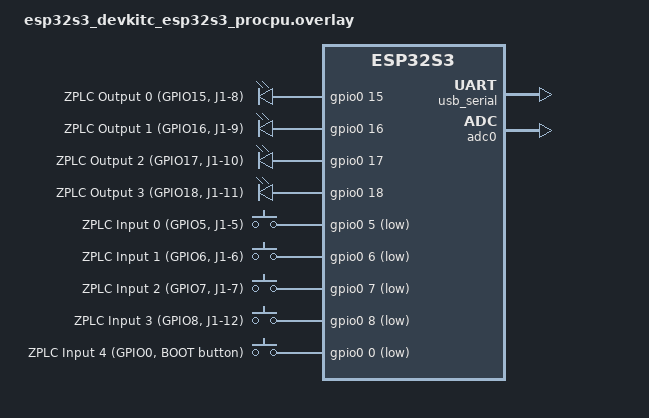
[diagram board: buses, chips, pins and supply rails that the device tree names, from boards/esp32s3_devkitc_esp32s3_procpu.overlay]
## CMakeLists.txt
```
# =============================================================================
# ZPLC Zephyr Verification Application
# =============================================================================
# SPDX-License-Identifier: MIT
#
# Minimal Zephyr application to test the ZPLC module build.
# =============================================================================

cmake_minimum_required(VERSION 3.20.0)

# Tell Zephyr where the ZPLC module lives so its Kconfig and CMakeLists.txt
# are always found, regardless of whether the workspace symlink exists.
# ZEPHYR_EXTRA_MODULES must be set BEFORE find_package(Zephyr).
get_filename_component(_ZPLC_FIRMWARE_DIR "${CMAKE_CURRENT_SOURCE_DIR}/.." ABSOLUTE)
list(APPEND ZEPHYR_EXTRA_MODULES "${_ZPLC_FIRMWARE_DIR}")

# Find Zephyr - this sets up the entire Zephyr build system
find_package(Zephyr REQUIRED HINTS $ENV{ZEPHYR_BASE})

project(zplc_zephyr_app)

# The application is optimized across its files with the runtime (CONFIG_ZPLC_LTO; the module does the library).
zplc_target_lto(app)

# COM-022: the raw memory command of the Zephyr shell is built only into the
# diagnostic image (firmware/app/diagnostic.conf).
include(${CMAKE_CURRENT_SOURCE_DIR}/cmake/zplc_shell_rules.cmake)
zplc_check_shell_rules("${CONFIG_DEVMEM_SHELL}" "${CONFIG_ZPLC_SHELL_RAW_MEMORY}")

# COM-016: TLS never runs on a random generator that is not cryptographic.
include(${CMAKE_CURRENT_SOURCE_DIR}/cmake/zplc_tls_rng_rule.cmake)
if(CONFIG_MQTT_LIB_TLS OR CONFIG_NET_SOCKETS_SOCKOPT_TLS)
  set(_zplc_tls ON)
else()
  set(_zplc_tls OFF)
endif()
zplc_check_tls_random("${_zplc_tls}" "${CONFIG_TEST_RANDOM_GENERATOR}" "${CONFIG_CSPRNG_ENABLED}")

# RT-028, RT-029: the sizes a board profile advertises to the IDE (boards.json) are the sizes the
# build was configured with. The largest artifact the program store accepts is CONFIG_ZPLC_CODE_SIZE_MAX, and a
# manifest that says another number would make the IDE offer a program the board refuses, or refuse one it holds.
file(READ "${CMAKE_CURRENT_SOURCE_DIR}/boards/boards.json" ZPLC_BOARD_MANIFEST)
string(JSON ZPLC_BOARD_COUNT LENGTH "${ZPLC_BOARD_MANIFEST}")
if(ZPLC_BOARD_COUNT GREATER 0)
  math(EXPR ZPLC_BOARD_LAST "${ZPLC_BOARD_COUNT} - 1")
  foreach(ZPLC_BOARD_INDEX RANGE ${ZPLC_BOARD_LAST})
    string(JSON ZPLC_BOARD_ENTRY GET "${ZPLC_BOARD_MANIFEST}" ${ZPLC_BOARD_INDEX})
    string(JSON ZPLC_BOARD_TARGET GET "${ZPLC_BOARD_ENTRY}" zephyr_board)
    # The board target is "${BOARD}/${BOARD_QUALIFIERS}": Zephyr 4.4 sets BOARD_QUALIFIERS without the leading slash.
    if(ZPLC_BOARD_TARGET STREQUAL "${BOARD}/${BOARD_QUALIFIERS}")
      string(JSON ZPLC_BOARD_ID GET "${ZPLC_BOARD_ENTRY}" board_id)
      string(JSON ZPLC_BOARD_MEMORY GET "${ZPLC_BOARD_ENTRY}" memory)
      string(JSON ZPLC_BOARD_CODE GET "${ZPLC_BOARD_MEMORY}" code_size_max)
      string(JSON ZPLC_BOARD_WORK GET "${ZPLC_BOARD_MEMORY}" work_size)
      string(JSON ZPLC_BOARD_RETAIN GET "${ZPLC_BOARD_MEMORY}" retain_size)
      foreach(ZPLC_PAIR
              "code_size_max;${ZPLC_BOARD_CODE};${CONFIG_ZPLC_CODE_SIZE_MAX};CONFIG_ZPLC_CODE_SIZE_MAX"
              "work_size;${ZPLC_BOARD_WORK};${CONFIG_ZPLC_WORK_MEMORY_SIZE};CONFIG_ZPLC_WORK_MEMORY_SIZE"
              "retain_size;${ZPLC_BOARD_RETAIN};${CONFIG_ZPLC_RETAIN_MEMORY_SIZE};CONFIG_ZPLC_RETAIN_MEMORY_SIZE")
        list(GET ZPLC_PAIR 0 ZPLC_KEY)
        list(GET ZPLC_PAIR 1 ZPLC_ADVERTISED)
        list(GET ZPLC_PAIR 2 ZPLC_CONFIGURED)
        list(GET ZPLC_PAIR 3 ZPLC_SYMBOL)
        if(NOT ZPLC_ADVERTISED EQUAL ZPLC_CONFIGURED)
          message(FATAL_ERROR
            "boards/boards.json advertises ${ZPLC_KEY}=${ZPLC_ADVERTISED} for ${ZPLC_BOARD_ID} "
            "but the build is configured with ${ZPLC_SYMBOL}=${ZPLC_CONFIGURED}: the IDE would offer a program "
            "size the board does not accept. Make the two agree.")
        endif()
      endforeach()

      # RT-020: the hardware watchdog of a profile is what its manifest entry says. It is on in a profile that has a
      # hardware record and off in every other (the manifest validator checks that rule); the build is configured
      # the same way, with the same timeouts and the same policy for STOP, a pause and a latched fault. The one
      # exception is the HIL image (CONFIG_ZPLC_HIL_IMAGE), which the record itself is made on: the watchdog on, with
      # the entry's timeouts and policies, in an image that says it is never shipped.
      string(JSON ZPLC_WDT GET "${ZPLC_BOARD_ENTRY}" watchdog)
      string(JSON ZPLC_WDT_ENABLED GET "${ZPLC_WDT}" enabled)
      string(JSON ZPLC_WDT_TIMEOUT GET "${ZPLC_WDT}" timeout_ms)
      string(JSON ZPLC_WDT_MAX GET "${ZPLC_WDT}" max_timeout_ms)
      string(JSON ZPLC_WDT_STOP GET "${ZPLC_WDT}" stop)
      string(JSON ZPLC_WDT_PAUSE GET "${ZPLC_WDT}" pause)
      string(JSON ZPLC_WDT_FAULT GET "${ZPLC_WDT}" fault)
      if(ZPLC_WDT_ENABLED OR CONFIG_ZPLC_HIL_IMAGE)
        if(NOT CONFIG_ZPLC_HARDWARE_WATCHDOG)
          message(FATAL_ERROR
            "boards/boards.json enables the hardware watchdog of ${ZPLC_BOARD_ID} (it has a hardware record) "
            "but the build has CONFIG_ZPLC_HARDWARE_WATCHDOG off: set it in the board configuration (RT-020).")
        endif()
        foreach(ZPLC_PAIR
                "timeout_ms;${ZPLC_WDT_TIMEOUT};${CONFIG_ZPLC_HARDWARE_WATCHDOG_TIMEOUT_MS};CONFIG_ZPLC_HARDWARE_WATCHDOG_TIMEOUT_MS"
                "max_timeout_ms;${ZPLC_WDT_MAX};${CONFIG_ZPLC_HARDWARE_WATCHDOG_TIMEOUT_MAX_MS};CONFIG_ZPLC_HARDWARE_WATCHDOG_TIMEOUT_MAX_MS")
          list(GET ZPLC_PAIR 0 ZPLC_KEY)
          list(GET ZPLC_PAIR 1 ZPLC_ADVERTISED)
          list(GET ZPLC_PAIR 2 ZPLC_CONFIGURED)
          list(GET ZPLC_PAIR 3 ZPLC_SYMBOL)
          if(NOT ZPLC_ADVERTISED EQUAL ZPLC_CONFIGURED)
            message(FATAL_ERROR
              "boards/boards.json says watchdog.${ZPLC_KEY}=${ZPLC_ADVERTISED} for ${ZPLC_BOARD_ID} "
              "but the build is configured with ${ZPLC_SYMBOL}=${ZPLC_CONFIGURED}. Make the two agree.")
          endif()
        endforeach()
        if((ZPLC_WDT_STOP STREQUAL "feed") AND NOT CONFIG_ZPLC_WATCHDOG_STOP_FEED)
          message(FATAL_ERROR "boards/boards.json: ${ZPLC_BOARD_ID} feeds its watchdog in STOP; set CONFIG_ZPLC_WATCHDOG_STOP_FEED=y.")
        endif()
        if((ZPLC_WDT_STOP STREQUAL "disarm") AND CONFIG_ZPLC_WATCHDOG_STOP_FEED)
          message(FATAL_ERROR "boards/boards.json: ${ZPLC_BOARD_ID} disarms its watchdog in STOP; unset CONFIG_ZPLC_WATCHDOG_STOP_FEED.")
        endif()
        if((ZPLC_WDT_PAUSE STREQUAL "disarm") AND NOT CONFIG_ZPLC_WATCHDOG_PAUSE_DISARM)
          message(FATAL_ERROR "boards/boards.json: ${ZPLC_BOARD_ID} disarms its watchdog in a pause; set CONFIG_ZPLC_WATCHDOG_PAUSE_DISARM=y.")
        endif()
        if((ZPLC_WDT_PAUSE STREQUAL "feed") AND CONFIG_ZPLC_WATCHDOG_PAUSE_DISARM)
          message(FATAL_ERROR "boards/boards.json: ${ZPLC_BOARD_ID} feeds its watchdog in a pause; unset CONFIG_ZPLC_WATCHDOG_PAUSE_DISARM.")
        endif()
        if((ZPLC_WDT_FAULT STREQUAL "disarm") AND NOT CONFIG_ZPLC_WATCHDOG_FAULT_DISARM)
          message(FATAL_ERROR "boards/boards.json: ${ZPLC_BOARD_ID} disarms its watchdog in a fault; set CONFIG_ZPLC_WATCHDOG_FAULT_DISARM=y.")
        endif()
        if((ZPLC_WDT_FAULT STREQUAL "expire") AND CONFIG_ZPLC_WATCHDOG_FAULT_DISARM)
          message(FATAL_ERROR "boards/boards.json: ${ZPLC_BOARD_ID} lets its watchdog expire in a fault; unset CONFIG_ZPLC_WATCHDOG_FAULT_DISARM.")
        endif()
      elseif(CONFIG_ZPLC_HARDWARE_WATCHDOG)
        message(FATAL_ERROR
          "boards/boards.json keeps the hardware watchdog of ${ZPLC_BOARD_ID} off (no hardware record: RT-020, "
          "HIL-010) but the build enables CONFIG_ZPLC_HARDWARE_WATCHDOG. A watchdog enabled before its reset "
          "timing and safe outputs are recorded could reset a board in the field. For the record run itself, build "
          "the HIL image: -DCONFIG_ZPLC_HIL_IMAGE=y.")
      endif()
      message(STATUS "ZPLC: ${ZPLC_BOARD_ID} checked against boards/boards.json (RT-028 sizes: code ${ZPLC_BOARD_CODE}, "
                     "work ${ZPLC_BOARD_WORK}, retain ${ZPLC_BOARD_RETAIN}; RT-020 hardware watchdog: ${ZPLC_WDT_ENABLED})")
      if(CONFIG_ZPLC_HIL_IMAGE)
        message(WARNING "ZPLC: ${ZPLC_BOARD_ID} HIL image: the hardware watchdog is on for a hardware record run "
                        "(RT-020, HIL-010). This image is never shipped.")
      endif()
    endif()
  endforeach()
endif()

if(CONFIG_MQTT_LIB_WEBSOCKET)
  if(NOT TARGET subsys__net__lib__mqtt)
    message(FATAL_ERROR "Zephyr MQTT target subsys__net__lib__mqtt is required for the WebSocket net_log workaround")
  endif()
  target_compile_options(subsys__net__lib__mqtt PRIVATE "SHELL:-include zephyr/net/net_log.h")
endif()

target_sources(app PRIVATE
    src/main.c
    src/program_boot_restore.c
    src/program_admission.c
    src/program_store.c
    src/runtime_boot.c
    src/zplc_config.c
    src/zplc_time.c
)

if(CONFIG_MODBUS)
  target_sources(app PRIVATE
      src/zplc_modbus.c
      src/zplc_modbus_tcp.c
      src/zplc_modbus_client.c
      src/zplc_comm_modbus_handler.c
  )
endif()

if(CONFIG_MQTT_LIB)
  target_sources(app PRIVATE
      src/zplc_comm_mqtt_handler.c
      src/zplc_comm_cloud_handler.c
      src/zplc_mqtt.c
      src/zplc_mqtt_command.c
      src/zplc_tls_credentials.c
      src/zplc_azure_sas.c
      src/zplc_azure_dps.c
      src/zplc_aws_fleet.c
  )
endif()

if(CONFIG_SHELL)
  target_sources(app PRIVATE src/shell_cmds.c)
endif()

target_include_directories(app PRIVATE
    include
)

target_compile_options(app PRIVATE -Werror)

# Sparkplug protobuf sources must always be generated from canonical proto inputs.
if(CONFIG_NANOPB)
  list(APPEND CMAKE_MODULE_PATH ${ZEPHYR_BASE}/modules/nanopb)
  include(nanopb)
  zephyr_nanopb_sources(app proto/sparkplug_b.proto)
endif()
```

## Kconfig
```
# =============================================================================
# ZPLC Application Kconfig
# =============================================================================
# Include the main Zephyr Kconfig
source "Kconfig.zephyr"

menu "ZPLC Application"

# Application-specific options go here
# (ZPLC_HIL_DEBUG is now defined in the module Kconfig)

endmenu
```

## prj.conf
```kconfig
# =============================================================================
# ZPLC Zephyr Application Configuration
# =============================================================================
# SPDX-License-Identifier: MIT
# =============================================================================

# Enable the ZPLC module
CONFIG_ZPLC=y

# -----------------------------------------------------------------------------
# GPIO Configuration (Required for Phase 3 Hardware I/O)
# -----------------------------------------------------------------------------
CONFIG_GPIO=y

# -----------------------------------------------------------------------------
# ADC Configuration (Analog Input Support)
# -----------------------------------------------------------------------------
CONFIG_ADC=y

# -----------------------------------------------------------------------------
# Modbus RTU Server Support
# -----------------------------------------------------------------------------
CONFIG_MODBUS=y

# -----------------------------------------------------------------------------
# Logging Configuration
# -----------------------------------------------------------------------------
CONFIG_PRINTK=y
CONFIG_LOG=y
CONFIG_ZPLC_LOG_LEVEL=3

# -----------------------------------------------------------------------------
# Stack/Memory Configuration
# -----------------------------------------------------------------------------
CONFIG_MAIN_STACK_SIZE=4096

# Increase heap for boards with limited defaults
CONFIG_HEAP_MEM_POOL_SIZE=2048

# -----------------------------------------------------------------------------
# Flash & Persistence Configuration (NVS)
# -----------------------------------------------------------------------------
# Required for storing programs in Flash (non-volatile storage)
# We use NVS directly for simpler and more reliable persistence
CONFIG_FLASH=y
CONFIG_FLASH_PAGE_LAYOUT=y
CONFIG_FLASH_MAP=y
CONFIG_NVS=y

# -----------------------------------------------------------------------------
# Shell for Runtime Management (Required for Phase 3 Serial Upload)
# -----------------------------------------------------------------------------
CONFIG_SHELL=y
CONFIG_SHELL_BACKEND_SERIAL=y

# Shell configuration
CONFIG_SHELL_PROMPT_UART="zplc:~$ "

# The command line buffer: the longest line a client sends. That is a frame of the device link, `zplc link ` and
# the frame in hexadecimal, 2 * (CONFIG_ZPLC_PROTO_PAYLOAD_MAX + 47) + 11 characters: 1129 at the default payload of
# 512. The text commands are shorter (the longest, `zplc config set mqtt_password <511 characters>`, is 541), and
# the upload commands send 16 bytes (32 hex characters) a line. The shell drops what does not fit the buffer, and the
# build stops when a frame would not fit (shell_cmds.c). The shell keeps two buffers of this size (the line and the
# one it completes in), so every 256 bytes here cost 512 bytes of RAM. A board with a smaller payload sets less.
# Bursts are the receive ring below, not this buffer.
CONFIG_SHELL_CMD_BUFF_SIZE=1280
CONFIG_SHELL_PRINTF_BUFF_SIZE=2048

# Enable shell RX ring buffer with generous size
CONFIG_SHELL_BACKEND_SERIAL_RX_RING_BUFFER_SIZE=4096

# Use interrupt-driven mode for better responsiveness
CONFIG_SHELL_BACKEND_SERIAL_INTERRUPT_DRIVEN=y

# Increase stack for shell thread (needed for hex parsing)
CONFIG_SHELL_STACK_SIZE=4096

# -----------------------------------------------------------------------------
# USB CDC ACM Configuration (for boards with native USB like Pico)
# -----------------------------------------------------------------------------
# Enabled conditionally in board-specific configs (rpi_pico.conf)

# -----------------------------------------------------------------------------
# Multitask Scheduler Configuration
# -----------------------------------------------------------------------------
CONFIG_ZPLC_SCHEDULER=y
CONFIG_ZPLC_MAX_TASKS=4
CONFIG_ZPLC_SCHED_WORKQ_STACK_SIZE=2048
CONFIG_ZPLC_SCHED_WORKQ_PRIORITY=5
CONFIG_ZPLC_SCHED_HIGH_PRIO_WORKQ=y
CONFIG_ZPLC_SCHED_HIGH_PRIO_STACK_SIZE=2048
CONFIG_ZPLC_SCHED_HIGH_PRIO_PRIORITY=2

# The scan coordinator outranks every communication, logging and shell thread (RT-013). Zephyr runs its system work
# queue, which the Modbus serial server and the network management callbacks use, at a cooperative priority, and
# a cooperative thread outranks every preemptible one: it moves to the priority of the communication threads
# (CONFIG_ZPLC_COMM_THREAD_PRIORITY, 8). The network traffic threads are made preemptible in the board files.
CONFIG_SYSTEM_WORKQUEUE_PRIORITY=8

# -----------------------------------------------------------------------------
# System Reboot Support
# -----------------------------------------------------------------------------
CONFIG_REBOOT=y

# -----------------------------------------------------------------------------
# Release firmware has no raw memory command (COM-022)
# -----------------------------------------------------------------------------
# `devmem` of the Zephyr shell reads and writes any address of the device. It
# is on by default in Zephyr; the diagnostic image turns it on again with
# CONFIG_ZPLC_SHELL_RAW_MEMORY=y (diagnostic.conf), and the build stops when
# the two disagree.
CONFIG_DEVMEM_SHELL=n

# -----------------------------------------------------------------------------
```

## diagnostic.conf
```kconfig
# =============================================================================
# ZPLC diagnostic image (COM-022)
# =============================================================================
# SPDX-License-Identifier: MIT
#
# Adds the commands that read and write any address of the device. Never a
# release image: build it with
#
#   west build -b <board> firmware/app -- -DEXTRA_CONF_FILE=diagnostic.conf
#
# The two lines go together; the application build stops with an error when
# only one is set (firmware/app/cmake/zplc_shell_rules.cmake).
CONFIG_ZPLC_SHELL_RAW_MEMORY=y
CONFIG_DEVMEM_SHELL=y
```

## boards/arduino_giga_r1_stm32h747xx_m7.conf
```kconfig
# =============================================================================
# ZPLC Board Configuration - Arduino GIGA R1 (STM32H747 M7)
# =============================================================================
# SPDX-License-Identifier: MIT
#
# Board-specific Kconfig settings for Arduino GIGA R1 (M7 core).
# =============================================================================

# Console over USB CDC ACM
# Disable legacy USB device stack because Zephyr board defaults already pull
# device_next paths, and enabling both causes duplicate CDC ACM symbols.
CONFIG_USB_DEVICE_STACK=n

# Persistence on the external QSPI NOR flash, one partition per store (IO-008,
# arduino_giga_r1_stm32h747xx_m7.overlay): the NVS records of the ZPLC HAL on
# zplc_nvs_partition (7 MB) and LittleFS, the settings file and the certificate
# files, on storage_partition (1 MB).
CONFIG_FLASH=y
CONFIG_FLASH_PAGE_LAYOUT=y
CONFIG_FLASH_MAP=y
CONFIG_FILE_SYSTEM=y
CONFIG_FILE_SYSTEM_LITTLEFS=y
CONFIG_FILE_SYSTEM_MKFS=y
CONFIG_SETTINGS=y
CONFIG_SETTINGS_FILE=y
CONFIG_SETTINGS_FILE_PATH="/lfs/settings"

# LittleFS + TLS certificate buffers
CONFIG_HEAP_MEM_POOL_SIZE=12288

# Memory sizes
CONFIG_MAIN_STACK_SIZE=4096
CONFIG_SYSTEM_WORKQUEUE_STACK_SIZE=3072
# The outputs this board requires are the channels of its I/O description (boards.json).

# Networking / Wi-Fi / MQTT are intentionally disabled for this board build.
# Zephyr 4.3.0 board docs for Arduino GIGA R1 state that only Bluetooth is
# currently supported for the onboard Murata Type 1DX radio. Enabling Wi-Fi
# pulls in unsupported Infineon WHD SDIO paths and breaks cross-build parity.
CONFIG_NETWORKING=n
CONFIG_DNS_RESOLVER=n
CONFIG_WIFI=n
CONFIG_NET_L2_WIFI_SHELL=n
CONFIG_NET_SHELL=n
CONFIG_WIFI_CREDENTIALS=n
CONFIG_WIFI_CREDENTIALS_BACKEND_SETTINGS=n
CONFIG_WIFI_CREDENTIALS_SHELL=n
CONFIG_MQTT_LIB=n
CONFIG_MQTT_LIB_TLS=n
CONFIG_MQTT_LIB_WEBSOCKET=n
CONFIG_MQTT_LIB_TLS_USE_ALPN=n
CONFIG_MQTT_VERSION_5_0=n
CONFIG_NET_SOCKETS_SOCKOPT_TLS=n
CONFIG_WEBSOCKET_CLIENT=n
CONFIG_TLS_CREDENTIALS=n
CONFIG_MBEDTLS=n
CONFIG_NANOPB=n

# -----------------------------------------------------------------------------
# RETAIN persistence (RT-025, RT-026). Engineering estimates, not measurements:
# no board was measured. See docs/docs/runtime/persistence.md for the arithmetic.
# -----------------------------------------------------------------------------
# zplc_nvs_partition: 7 MB of the external QSPI NOR (4 KB sectors assumed), rated
# 100000 erase cycles per sector, used by the NVS records alone. Wear bytes =
# 1791 * 4096 - 8300, rounded down.
# On in every shipped profile: RETAIN survives a power cycle (RT-025). The build checks the wear numbers below (RT-026).
CONFIG_ZPLC_RETAIN_PERSIST=y
CONFIG_ZPLC_RETAIN_FLASH_ENDURANCE_CYCLES=100000
CONFIG_ZPLC_RETAIN_FLASH_WEAR_BYTES=7300000
CONFIG_ZPLC_RETAIN_SAVE_INTERVAL_S=60
```

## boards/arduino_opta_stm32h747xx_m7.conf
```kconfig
# =============================================================================
# ZPLC Board Configuration - Arduino Opta WiFi (STM32H747 M7)
# =============================================================================
# SPDX-License-Identifier: MIT
#
# Board-specific Kconfig settings for Arduino Opta WiFi (M7 core).
# =============================================================================

# Let board defaults manage USB stack to avoid UDC/DC conflicts
CONFIG_CONSOLE=y
CONFIG_UART_CONSOLE=y
CONFIG_UART_LINE_CTRL=y
CONFIG_CDC_ACM_SERIAL_INITIALIZE_AT_BOOT=y

# Persistence on the 16 MB external QSPI NOR flash, one partition per store
# (IO-008, arduino_opta_stm32h747xx_m7.overlay): the NVS records of the ZPLC HAL
# on zplc_nvs_partition (7 MB) and LittleFS, the settings file and the
# certificate files, on storage_partition (1 MB).
CONFIG_FLASH=y
CONFIG_FLASH_PAGE_LAYOUT=y
CONFIG_FLASH_MAP=y
CONFIG_FILE_SYSTEM=y
CONFIG_FILE_SYSTEM_LITTLEFS=y
CONFIG_FILE_SYSTEM_MKFS=y
CONFIG_SETTINGS=y
CONFIG_SETTINGS_FILE=y
CONFIG_SETTINGS_FILE_PATH="/lfs/settings"
CONFIG_HEAP_MEM_POOL_SIZE=16384

# Memory sizes
CONFIG_MAIN_STACK_SIZE=4096
CONFIG_SYSTEM_WORKQUEUE_STACK_SIZE=3072
# The outputs this board requires are the channels of its I/O description (boards.json).

# Analog inputs are available on the board
CONFIG_ADC=y

# Networking Foundation
CONFIG_NETWORKING=y
# The network RX/TX threads are cooperative by default and would outrank the scan (RT-013).
CONFIG_NET_TC_THREAD_PREEMPTIVE=y
CONFIG_NET_L2_ETHERNET=y
CONFIG_NET_L2_WIFI_MGMT=y

# IPv4
CONFIG_NET_IPV4=y
CONFIG_NET_DHCPV4=y

# Sockets and Protocols
CONFIG_NET_SOCKETS=y
CONFIG_NET_TCP=y
CONFIG_NET_UDP=y

# Helper macros
CONFIG_NET_MGMT=y
CONFIG_NET_MGMT_EVENT=y
CONFIG_NET_ICMPV4_ACCEPT_BROADCAST=y
CONFIG_NET_IPV4_AUTO=n

# Random source for the network stack and for TLS (COM-016): the hardware
# random number generator of the STM32 (CONFIG_ENTROPY_STM32_RNG, from the
# board DeviceTree). CONFIG_TEST_RANDOM_GENERATOR is not set: it only permits a
# generator that is not random, and the application build stops when TLS is on
# together with it (firmware/app/cmake/zplc_tls_rng_rule.cmake).
CONFIG_ENTROPY_GENERATOR=y

# Time Synchronization
CONFIG_SNTP=y
CONFIG_POSIX_TIMERS=y
CONFIG_POSIX_API=y

# DNS Resolver
CONFIG_DNS_RESOLVER=y
CONFIG_DNS_SERVER_IP_ADDRESSES=y
CONFIG_DNS_SERVER1="8.8.8.8"
CONFIG_NET_SOCKETS_DNS_TIMEOUT=3000

# Static IP fallback
CONFIG_NET_CONFIG_SETTINGS=y
CONFIG_NET_CONFIG_NEED_IPV4=y
CONFIG_NET_CONFIG_MY_IPV4_ADDR="192.168.1.200"
CONFIG_NET_CONFIG_MY_IPV4_NETMASK="255.255.255.0"
CONFIG_NET_CONFIG_MY_IPV4_GW="192.168.1.1"
CONFIG_NET_CONFIG_INIT_TIMEOUT=5

# Disable Modbus to avoid build errors (RS-485 pins not mapped yet)
CONFIG_MODBUS=n

# MQTT + Sparkplug support, TLS OFF (COM-016).
# The random number generator of this board has not been verified on the
# board, so TLS is not built: MQTT runs over plain TCP only, and a TLS
# transport is refused by the client instead of being downgraded. Switch
# CONFIG_MQTT_LIB_TLS, CONFIG_NET_SOCKETS_SOCKOPT_TLS and CONFIG_TLS_CREDENTIALS
# back on only with a hardware record of the generator (HIL-011). mbedTLS stays
# for the SHA-256 and HMAC of the Azure SAS token.
CONFIG_MQTT_LIB=y
CONFIG_MQTT_LIB_TLS=n
CONFIG_MQTT_LIB_WEBSOCKET=y
CONFIG_MQTT_LIB_TLS_USE_ALPN=n
CONFIG_MQTT_VERSION_5_0=y
CONFIG_MQTT_USER_PROPERTIES_MAX=10
CONFIG_MQTT_CLEAN_SESSION=y
CONFIG_NET_SOCKETS_SOCKOPT_TLS=n
CONFIG_WEBSOCKET_CLIENT=y
CONFIG_NET_SOCKETS_ENABLE_DTLS=n
CONFIG_TLS_CREDENTIALS=n
CONFIG_MBEDTLS=y
CONFIG_PSA_WANT_ALG_SHA_256=y
CONFIG_MBEDTLS_ENABLE_HEAP=y
CONFIG_MBEDTLS_HEAP_SIZE=32768
CONFIG_MBEDTLS_PEM_PARSE_C=y
CONFIG_MBEDTLS_BASE64_C=y
CONFIG_PSA_WANT_ALG_HMAC=y
CONFIG_PSA_WANT_KEY_TYPE_HMAC=y
CONFIG_NANOPB=y

# -----------------------------------------------------------------------------
# RETAIN persistence (RT-025, RT-026). Engineering estimates, not measurements:
# no board was measured. See docs/docs/runtime/persistence.md for the arithmetic.
# -----------------------------------------------------------------------------
# zplc_nvs_partition: 7 MB of the external QSPI NOR (4 KB sectors assumed), rated
# 100000 erase cycles per sector, used by the NVS records alone. Wear bytes =
# 1791 * 4096 - 8300, rounded down.
# On in every shipped profile: RETAIN survives a power cycle (RT-025). The build checks the wear numbers below (RT-026).
CONFIG_ZPLC_RETAIN_PERSIST=y
CONFIG_ZPLC_RETAIN_FLASH_ENDURANCE_CYCLES=100000
CONFIG_ZPLC_RETAIN_FLASH_WEAR_BYTES=7300000
CONFIG_ZPLC_RETAIN_SAVE_INTERVAL_S=60

# -----------------------------------------------------------------------------
# Program size (RT-028, RT-029)
# -----------------------------------------------------------------------------
# The program store (its rollback scratch), the upload staging buffer and the VM each hold a program of this size
# in RAM, so the code size is three times its value in RAM. With the Wi-Fi, TLS and the network buffers of this
# profile the AXI SRAM region is 86% used at 32 KB and would overflow at the 44 KB of the other STM32 profiles.
# The IDE is told the same number by boards/boards.json (the build compares them).
CONFIG_ZPLC_CODE_SIZE_MAX=32768
```

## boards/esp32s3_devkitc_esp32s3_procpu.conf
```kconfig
# =============================================================================
# ZPLC Board Configuration - ESP32-S3-DevKitC-1 (module N8R8)
# =============================================================================
# SPDX-License-Identifier: MIT
# =============================================================================

# Enable USB Serial/JTAG Console
CONFIG_UART_CONSOLE=y
CONFIG_USB_DEVICE_STACK=n

# Use the built-in USB-Serial/JTAG controller
# This is handled primarily by Devicetree in Zephyr 4.0

# Flash and NVS for persistence
CONFIG_FLASH=y
CONFIG_FLASH_PAGE_LAYOUT=y
CONFIG_FLASH_MAP=y
CONFIG_NVS=y

# =============================================================================
# Link-time optimization (CONFIG_ZPLC_LTO) is off here: it saves 1.2 KB of this image's 1 MB of flash (0.1 percent),
# and the margin of the stacks under it, with the inlining it does, has been measured only on the Cortex-M3 of
# QEMU (firmware/tests/stack_margin), not on Xtensa, where this board has the smallest shell stack (3072 B).
# =============================================================================
CONFIG_ZPLC_LTO=n

# =============================================================================
# Stack / Memory sizes
# =============================================================================
CONFIG_MAIN_STACK_SIZE=3072
CONFIG_IDLE_STACK_SIZE=1024
CONFIG_SHELL_STACK_SIZE=3072
# A frame of the device link at the default payload of 512 bytes is a line of 1129 characters (prj.conf): 1024 would
# have dropped the end of every large frame.
CONFIG_SHELL_CMD_BUFF_SIZE=1280
CONFIG_SHELL_PRINTF_BUFF_SIZE=1024
CONFIG_SHELL_BACKEND_SERIAL_RX_RING_BUFFER_SIZE=1024

# Reduce TLS/Network buffers to save internal DRAM
CONFIG_MBEDTLS_SSL_MAX_CONTENT_LEN=4096
CONFIG_NET_TX_STACK_SIZE=1200
CONFIG_NET_RX_STACK_SIZE=1200

# net_mgmt event thread stack: default 2048 is too small under WiFi load.
# Bumped to 4096 following Zephyr WiFi sample recommendations.
CONFIG_NET_MGMT_EVENT_STACK_SIZE=4096

# =============================================================================
# PSRAM - ESP32-S3-WROOM-1-N8R8: 8MB Octal PSRAM
# =============================================================================
# The N8R8 module has 8MB flash and 8MB Octal PSRAM. This image needs that octal PSRAM, so it does not start on the
# N8 (no PSRAM) or the N8R2 (quad PSRAM). Without PSRAM the build does not fit: the TLS, Sparkplug B and cloud
# buffers that firmware/app/src places with EXT_RAM_BSS_ATTR have no region (69920 B), and with them in internal RAM
# dram0_0_seg overflows by 32924 B (measured with Zephyr 4.4.2, 2026-10-20).
# Enabling SPIRAM is REQUIRED for stable WiFi: the ESP WiFi library calls
# wifi_malloc() from interrupt context during WPA2-PSK CCMP/EAPOL handshake
# and needs ~40KB heap. With only internal DRAM available (DRAM is 98%+ full),
# heap allocation fails and corrupts z_swap's _current_cpu pointer, causing
# EXCCAUSE 28 (load prohibited) in the net_mgmt thread.
# With SPIRAM enabled, k_heap and k_malloc route through the shared SPIRAM heap.
CONFIG_ESP_SPIRAM=y
CONFIG_SPIRAM_MODE_OCT=y
CONFIG_ESP_SPIRAM_HEAP_SIZE=1048576

# Route WiFi driver heap allocations through smh_malloc (SPIRAM shared multi-heap).
# Without this, wifi_malloc() uses k_malloc (DRAM) and crashes during WPA2 handshake.
CONFIG_ESP_WIFI_HEAP_SPIRAM=y
# Allocate WiFi + NET stack memory from SPIRAM to free DRAM.
CONFIG_ESP32_WIFI_NET_ALLOC_SPIRAM=y

# Internal heap: keep small since WiFi/TLS heap lives in SPIRAM.
CONFIG_HEAP_MEM_POOL_SIZE=8192
# MbedTLS heap lives in SPIRAM via shared multi-heap. Reduce internal to minimum.
CONFIG_MBEDTLS_ENABLE_HEAP=y
CONFIG_MBEDTLS_HEAP_SIZE=8192

CONFIG_SYSTEM_WORKQUEUE_STACK_SIZE=2048

# =============================================================================
# Flash/settings persistence via LittleFS
# =============================================================================
CONFIG_FILE_SYSTEM=y
CONFIG_FILE_SYSTEM_LITTLEFS=y
CONFIG_FILE_SYSTEM_MKFS=y
CONFIG_SETTINGS=y
CONFIG_SETTINGS_FILE=y
CONFIG_SETTINGS_FILE_PATH="/lfs/settings"

# =============================================================================
# Networking (Wi-Fi + TCP/IP)
# =============================================================================
CONFIG_NETWORKING=y
# The network RX/TX threads are cooperative by default and would outrank the scan (RT-013).
CONFIG_NET_TC_THREAD_PREEMPTIVE=y
CONFIG_NET_IPV4=y
CONFIG_NET_DHCPV4=y
CONFIG_NET_SOCKETS=y
CONFIG_NET_TCP=y
CONFIG_NET_UDP=y
CONFIG_NET_MGMT=y
CONFIG_NET_MGMT_EVENT=y
CONFIG_DNS_RESOLVER=y
CONFIG_NET_SOCKETS_DNS_TIMEOUT=3000

# Wi-Fi shell/runtime management
CONFIG_WIFI=y
CONFIG_NET_L2_WIFI_SHELL=y
CONFIG_NET_SHELL=y
CONFIG_WIFI_CREDENTIALS=y
CONFIG_WIFI_CREDENTIALS_BACKEND_SETTINGS=y
CONFIG_WIFI_CREDENTIALS_SHELL=y

# =============================================================================
# MQTT + TLS
# =============================================================================
CONFIG_MQTT_LIB=y
CONFIG_MQTT_LIB_TLS=y
CONFIG_MQTT_LIB_WEBSOCKET=y
CONFIG_MQTT_LIB_TLS_USE_ALPN=y
CONFIG_MQTT_VERSION_5_0=y
CONFIG_MQTT_USER_PROPERTIES_MAX=6
CONFIG_MQTT_CLEAN_SESSION=y
CONFIG_NET_SOCKETS_SOCKOPT_TLS=y
CONFIG_WEBSOCKET_CLIENT=y
CONFIG_NET_SOCKETS_ENABLE_DTLS=n
CONFIG_TLS_CREDENTIALS=y
CONFIG_MBEDTLS=y
CONFIG_MBEDTLS_SSL_PROTO_TLS1_2=y
CONFIG_MBEDTLS_SSL_ALPN=y
CONFIG_MBEDTLS_CIPHERSUITE_TLS_ECDHE_RSA_WITH_AES_128_GCM_SHA256=y
CONFIG_MBEDTLS_CIPHERSUITE_TLS_ECDHE_ECDSA_WITH_AES_128_GCM_SHA256=y
CONFIG_PSA_WANT_ALG_SHA_256=y
CONFIG_MBEDTLS_PEM_PARSE_C=y
CONFIG_MBEDTLS_BASE64_C=y
CONFIG_PSA_WANT_ALG_HMAC=y
CONFIG_PSA_WANT_KEY_TYPE_HMAC=y

# Sparkplug B / Protobuf support
CONFIG_NANOPB=y

# =============================================================================
# ZPLC Memory Tuning for ESP32-S3 DRAM constraints
# =============================================================================
# The ESP32-S3 internal DRAM is shared with Wi-Fi + TLS static buffers (~200KB).
# Reduce ZPLC static buffers to the minimum needed for HIL testing.
# These are ZPLC module Kconfig symbols (defined in firmware/zephyr/Kconfig).
CONFIG_ZPLC_WORK_MEMORY_SIZE=2048
CONFIG_ZPLC_RETAIN_MEMORY_SIZE=1024
CONFIG_ZPLC_CODE_SIZE_MAX=8192
CONFIG_ZPLC_STACK_DEPTH=64
CONFIG_ZPLC_CALL_STACK_DEPTH=16
# HIL trace: off in this profile (HIL-013); a HIL build adds tools/hil/hil_debug.conf with -DEXTRA_CONF_FILE=.
# The outputs the profile requires come from its I/O description (boards.json); this is not a pin qualification.

# =============================================================================
# SNTP Time Synchronization (ESP32-S3 board override)
# =============================================================================
CONFIG_SNTP=y
# DNS_RESOLVER satisfies the SNTP hostname lookup requirement.
# DNS_RESOLVER is already enabled above — no extra board-level config required.
# The SNTP request timeout is controlled at runtime via zplc_config_get_ntp_server().

# -----------------------------------------------------------------------------
# RETAIN persistence (RT-025, RT-026). Engineering estimates, not measurements:
# no board was measured. See docs/docs/runtime/persistence.md for the arithmetic.
# -----------------------------------------------------------------------------
# zplc_nvs_partition (the overlay, IO-008; LittleFS keeps storage_partition): 192 KB of the module's SPI NOR
# (48 sectors of 4 KB), rated
# 100000 erase cycles per sector. Wear bytes = 47 * 4096 - 8300, rounded down.
# 1 KB RETAIN, worst case 60 s -> 29.5 years.
# On in every shipped profile: RETAIN survives a power cycle (RT-025). The build checks the wear numbers below (RT-026).
CONFIG_ZPLC_RETAIN_PERSIST=y
CONFIG_ZPLC_RETAIN_FLASH_ENDURANCE_CYCLES=100000
CONFIG_ZPLC_RETAIN_FLASH_WEAR_BYTES=184000
CONFIG_ZPLC_RETAIN_SAVE_INTERVAL_S=60
```

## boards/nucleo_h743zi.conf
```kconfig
# =============================================================================
# ZPLC Board Configuration - STM32 Nucleo-H743ZI
# =============================================================================
# SPDX-License-Identifier: MIT
#
# Board-specific Kconfig settings for the STM32 Nucleo-H743ZI.
# Use the ST-LINK VCP on USART3 for console/shell, and the internal flash for
# the image and both stores (nucleo_h743zi.overlay).
# =============================================================================

# Console / shell over ST-LINK VCP (USART3 default in upstream board DTS)
CONFIG_SERIAL=y
CONFIG_UART_INTERRUPT_DRIVEN=y
CONFIG_CONSOLE=y
CONFIG_UART_CONSOLE=y

# Persistence on the internal flash, one partition per store (IO-008,
# nucleo_h743zi.overlay). The flash is erased in 128 KB sectors, above the
# 64 KB sector NVS accepts, so the records of the HAL (program, RETAIN, settings
# keys, credentials) are kept by ZMS on zplc_nvs_partition (3 sectors). LittleFS
# (the settings file and the certificate files) mounts storage_partition
# (9 sectors) and programs the flash in its 32-byte words.
CONFIG_FLASH=y
CONFIG_FLASH_PAGE_LAYOUT=y
CONFIG_FLASH_MAP=y
CONFIG_NVS=n
CONFIG_ZMS=y
# The image links into slot0_partition (512 KB), so it cannot grow into the stores.
CONFIG_USE_DT_CODE_PARTITION=y
CONFIG_FILE_SYSTEM=y
CONFIG_FILE_SYSTEM_LITTLEFS=y
CONFIG_FILE_SYSTEM_MKFS=y
CONFIG_FS_LITTLEFS_PROG_SIZE=32
CONFIG_SETTINGS=y
CONFIG_SETTINGS_FILE=y
CONFIG_SETTINGS_FILE_PATH="/lfs/settings"

# Heap / stacks
CONFIG_HEAP_MEM_POOL_SIZE=8192
CONFIG_MAIN_STACK_SIZE=4096
CONFIG_SYSTEM_WORKQUEUE_STACK_SIZE=3072
# The outputs this board requires are the channels of its I/O description (boards.json).

# Analog inputs are available on the board headers
CONFIG_ADC=y

# Ethernet networking (LAN8742 RMII path exposed by board DTS)
CONFIG_NETWORKING=y
# The network RX/TX threads are cooperative by default and would outrank the scan (RT-013).
CONFIG_NET_TC_THREAD_PREEMPTIVE=y
CONFIG_NET_L2_ETHERNET=y
CONFIG_NET_IPV4=y
CONFIG_NET_DHCPV4=y
CONFIG_NET_SOCKETS=y
CONFIG_NET_TCP=y
CONFIG_NET_UDP=y
CONFIG_NET_MGMT=y
CONFIG_NET_MGMT_EVENT=y
CONFIG_NET_ICMPV4_ACCEPT_BROADCAST=y
CONFIG_NET_IPV4_AUTO=n

# Random source for the network stack and for TLS (COM-016): the hardware
# random number generator of the STM32 (CONFIG_ENTROPY_STM32_RNG, from the
# board DeviceTree). CONFIG_TEST_RANDOM_GENERATOR is not set: it only permits a
# generator that is not random, and the application build stops when TLS is on
# together with it (firmware/app/cmake/zplc_tls_rng_rule.cmake).
CONFIG_ENTROPY_GENERATOR=y

# Time synchronization and hostname/DNS-based clients
CONFIG_SNTP=y
CONFIG_POSIX_TIMERS=y
CONFIG_POSIX_API=y
CONFIG_DNS_RESOLVER=y
CONFIG_DNS_SERVER_IP_ADDRESSES=y
CONFIG_DNS_SERVER1="8.8.8.8"
CONFIG_NET_SOCKETS_DNS_TIMEOUT=3000

# Static IPv4 fallback when DHCP is unavailable
CONFIG_NET_CONFIG_SETTINGS=y
CONFIG_NET_CONFIG_NEED_IPV4=y
CONFIG_NET_CONFIG_MY_IPV4_ADDR="192.168.179.210"
CONFIG_NET_CONFIG_MY_IPV4_NETMASK="255.255.255.0"
CONFIG_NET_CONFIG_MY_IPV4_GW="192.168.179.1"
CONFIG_NET_CONFIG_INIT_TIMEOUT=5

# MQTT + Sparkplug support, TLS OFF (COM-016).
# The random number generator of this board has not been verified on the
# board, so TLS is not built: MQTT runs over plain TCP only, and a TLS
# transport is refused by the client instead of being downgraded. Switch
# CONFIG_MQTT_LIB_TLS, CONFIG_NET_SOCKETS_SOCKOPT_TLS and CONFIG_TLS_CREDENTIALS
# back on only with a hardware record of the generator (HIL-011). mbedTLS stays
# for the SHA-256 and HMAC of the Azure SAS token.
CONFIG_MQTT_LIB=y
CONFIG_MQTT_LIB_TLS=n
CONFIG_MQTT_LIB_WEBSOCKET=y
CONFIG_MQTT_LIB_TLS_USE_ALPN=n
CONFIG_MQTT_VERSION_5_0=y
CONFIG_MQTT_USER_PROPERTIES_MAX=6
CONFIG_MQTT_CLEAN_SESSION=y
CONFIG_NET_SOCKETS_SOCKOPT_TLS=n
CONFIG_WEBSOCKET_CLIENT=y
CONFIG_NET_SOCKETS_ENABLE_DTLS=n
CONFIG_TLS_CREDENTIALS=n
CONFIG_MBEDTLS=y
CONFIG_PSA_WANT_ALG_SHA_256=y
CONFIG_MBEDTLS_ENABLE_HEAP=y
CONFIG_MBEDTLS_HEAP_SIZE=16384
CONFIG_MBEDTLS_PEM_PARSE_C=y
CONFIG_MBEDTLS_BASE64_C=y
CONFIG_PSA_WANT_ALG_HMAC=y
CONFIG_PSA_WANT_KEY_TYPE_HMAC=y
CONFIG_NANOPB=y

# -----------------------------------------------------------------------------
# RETAIN persistence (RT-025, RT-026)
# -----------------------------------------------------------------------------
# Engineering estimates, not measurements: no board was measured. See
# docs/docs/runtime/persistence.md for the arithmetic.
# zplc_nvs_partition: 3 sectors of 128 KB of the internal flash, kept by ZMS,
# rated 10000 erase cycles per sector (STM32H743xI datasheet DS12110, flash
# memory endurance NEND). Wear bytes = 2 * 131072 - 8300, rounded down. A save
# interval of 600 s gives 10.8 years at a region that changes in every interval.
# On in every shipped profile: RETAIN survives a power cycle (RT-025). The build checks the wear numbers below (RT-026).
CONFIG_ZPLC_RETAIN_PERSIST=y
CONFIG_ZPLC_RETAIN_FLASH_ENDURANCE_CYCLES=10000
CONFIG_ZPLC_RETAIN_FLASH_WEAR_BYTES=253000
CONFIG_ZPLC_RETAIN_SAVE_INTERVAL_S=600
```

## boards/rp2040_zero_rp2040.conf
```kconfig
# =============================================================================
# ZPLC Board Configuration - Waveshare RP2040-Zero (rp2040_zero/rp2040)
# =============================================================================
# SPDX-License-Identifier: MIT
#
# A Kconfig fragment has no `include`: the settings the Raspberry Pi Pico profile
# shares with this board are repeated here. The board has no debugger and the
# USB port is the only host link, so the console and the shell use USB CDC ACM.
# The channels of the board are in the I/O description of
# firmware/app/boards/boards.json (waveshare-rp2040-zero).
# =============================================================================

# USB stack and CDC ACM (virtual serial port)
CONFIG_USB_DEVICE_STACK=y
CONFIG_USB_DEVICE_PRODUCT="ZPLC Runtime"
CONFIG_USB_DEVICE_MANUFACTURER="ZPLC Project"
CONFIG_USB_DEVICE_VID=0x2E8A
CONFIG_USB_DEVICE_PID=0x000A
CONFIG_USB_DEVICE_INITIALIZE_AT_BOOT=y
CONFIG_SERIAL=y
CONFIG_UART_INTERRUPT_DRIVEN=y
CONFIG_UART_LINE_CTRL=y
CONFIG_USB_CDC_ACM=y

# Ring buffer for bytecode upload
CONFIG_USB_CDC_ACM_RINGBUF_SIZE=4096

# Remote wakeup off, as on the Pico, to avoid suspension issues
CONFIG_USB_DEVICE_REMOTE_WAKEUP=n

# Console and shell over USB CDC
CONFIG_CONSOLE=y
CONFIG_UART_CONSOLE=y

# HIL debugging is off in this profile, so that release firmware carries no trace in its VM loop (HIL-013).
# A HIL build adds tools/hil/hil_debug.conf with -DEXTRA_CONF_FILE=.

# The storage partition of this board is 128 KB (rp2040_zero_rp2040.overlay), the same as the Pico: the program store
# keeps two slots of the code size in it, in chunks, with the two RETAIN records and a spare sector (RT-028, RT-029).
# The board manifest advertises the same size and the build compares them.
CONFIG_ZPLC_CODE_SIZE_MAX=24576

# RETAIN persistence (RT-025, RT-026). Engineering estimates, not measurements:
# the same 128 KB storage partition of the 2 MB flash as the Pico profile, and the
# same arithmetic (rpi_pico_rp2040.conf): 4 KB RETAIN, worst case 300 s -> 14.3 years.
# On in every shipped profile: RETAIN survives a power cycle (RT-025). The build checks the wear numbers below (RT-026).
CONFIG_ZPLC_RETAIN_PERSIST=y
CONFIG_ZPLC_RETAIN_FLASH_ENDURANCE_CYCLES=100000
CONFIG_ZPLC_RETAIN_FLASH_WEAR_BYTES=67000
CONFIG_ZPLC_RETAIN_SAVE_INTERVAL_S=300

# -----------------------------------------------------------------------------
# Device link protocol (COM-019): bounded for the RAM of this board
# -----------------------------------------------------------------------------
# 288 bytes of payload carry the largest force (a 255-character STRING is 260 bytes and an address), and a program
# goes in chunks of 284 bytes. Each frame buffer is that and 47 bytes, in the engine, the link and the line the
# shell prints; the queue of events holds 8, 66 bytes each. The defaults (512 and 16) cost about 1.4 KB more.
CONFIG_ZPLC_PROTO_PAYLOAD_MAX=288
CONFIG_ZPLC_PROTO_EVENT_QUEUE=8

# A frame of 288 bytes of payload is a line of 681 characters (2 * (288 + 47) + 11), so the shell's line buffer is 1 KB
# here and not the 1280 bytes of the default payload (prj.conf): 512 bytes less, as it keeps two buffers of that size.
# shell_cmds.c stops the build when a frame would not fit.
CONFIG_SHELL_CMD_BUFF_SIZE=1024
```

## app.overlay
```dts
/*
 * ZPLC Runtime DeviceTree Overlay
 *
 * SPDX-License-Identifier: MIT
 *
 * This overlay adds the ZPLC runtime node to the DeviceTree.
 * Customize the io-channels property for your specific board.
 *
 * Example for a board with GPIO0:
 *   io-channels = <&gpio0 10 &gpio0 11>;
 */

/ {
    zplc: zplc {
        compatible = "zplc,runtime";
        status = "okay";
        
        /* 
         * I/O channel assignment - customize for your board.
         * Format: <&gpio_device pin_number>
         * 
         * Example:
         *   io-channels = <&gpio0 10 &gpio0 11 &gpio0 12 &gpio0 13>;
         *
         * Currently empty - will cause build warning until configured.
         */
        
        /* Default cycle time: 10ms */
        cycle-time-us = <10000>;
        
    };
};
```

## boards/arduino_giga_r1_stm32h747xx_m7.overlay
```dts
/*
 * ZPLC Board Overlay - Arduino GIGA R1 (Cortex-M7)
 * SPDX-License-Identifier: MIT
 *
 * The Arduino GIGA R1 already defines:
 *   - led0 = red_led (PI12)
 *   - led1 = green_led (PJ13)
 *   - sw0 = user_button (PC13)
 *
 * Storage (IO-008): the two stores of the firmware each have a partition of their own on the external QSPI NOR
 * (Arduino layout of dts/vendor/arduino/partitions_qspi_h7_r3.dtsi; the part is erased in 4 KB sectors, which its
 * driver reads from it). The HAL keeps its NVS records on zplc_nvs_partition and the settings file system of
 * zplc_config.c (LittleFS) mounts storage_partition.
 *   - zplc_nvs_partition, 7 MB at 0x700000: the NVS records (the two program slots, the RETAIN records, the settings
 *     keys and the credentials). It is the area the records had as storage_partition before, so a board updated to
 *     this layout keeps its stored program and settings, and the RETAIN wear figure of the .conf is unchanged.
 *   - storage_partition, 1 MB at 0x600000: LittleFS, the settings file and the certificate files, which take a few
 *     KB. It takes the place of kvs_partition, the provisioning store of the Arduino IoT Cloud library, which this
 *     firmware does not run; the first mount formats it.
 * The image runs from slot0_partition of the internal flash. tools/hil/check_storage_partitions.py checks this layout
 * on every build (run.sh size); the flash of a board is HIL-010.
 */

/ {
    /* Board has sufficient default aliases for ZPLC GPIO HAL */
};

/delete-node/ &kvs_partition;
/delete-node/ &storage_partition;

&qspi_flash {
	partitions {
		storage_partition: partition@600000 {
			label = "storage";
			reg = <0x00600000 DT_SIZE_M(1)>;
		};

		zplc_nvs_partition: partition@700000 {
			label = "zplc-nvs";
			reg = <0x00700000 DT_SIZE_M(7)>;
		};
	};
};
```

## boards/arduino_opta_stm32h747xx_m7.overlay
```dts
/*
 * ZPLC Board Overlay - Arduino Opta WiFi (STM32H747 M7)
 * SPDX-License-Identifier: MIT
 *
 * The Arduino Opta already defines:
 *   - led0..led3 = Status LEDs D0..D3
 *   - sw0 = User button
 *
 * Storage (IO-008): the two stores of the firmware each have a partition of their own on the external QSPI NOR
 * (Arduino layout of dts/vendor/arduino/partitions_qspi_h7_r3.dtsi; the part is erased in 4 KB sectors, which its
 * driver reads from it). The HAL keeps its NVS records on zplc_nvs_partition and the settings file system of
 * zplc_config.c (LittleFS) mounts storage_partition.
 *   - zplc_nvs_partition, 7 MB at 0x700000: the NVS records (the two program slots, the RETAIN records, the settings
 *     keys and the credentials). It is the area the records had as storage_partition before, so a board updated to
 *     this layout keeps its stored program and settings, and the RETAIN wear figure of the .conf is unchanged.
 *   - storage_partition, 1 MB at 0x600000: LittleFS, the settings file and the certificate files, which take a few
 *     KB. It takes the place of kvs_partition, the provisioning store of the Arduino IoT Cloud library, which this
 *     firmware does not run; the first mount formats it.
 * The image runs from slot0_partition of the internal flash. tools/hil/check_storage_partitions.py checks this layout
 * on every build (run.sh size); the flash of a board is HIL-010.
 */

/ {
	/* The Opta has 4 status LEDs mapped to led0-led3 natively */
};

/delete-node/ &kvs_partition;
/delete-node/ &storage_partition;

&qspi_flash {
	partitions {
		storage_partition: partition@600000 {
			label = "storage";
			reg = <0x00600000 DT_SIZE_M(1)>;
		};

		zplc_nvs_partition: partition@700000 {
			label = "zplc-nvs";
			reg = <0x00700000 DT_SIZE_M(7)>;
		};
	};
};
```

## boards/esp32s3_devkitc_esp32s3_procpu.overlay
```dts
/*
 * ZPLC Board Overlay - Espressif ESP32-S3-DevKitC-1 (module N8R8)
 * SPDX-License-Identifier: MIT
 *
 * Module: ESP32-S3-WROOM-1-N8R8, 8 MB flash and 8 MB octal PSRAM. The base
 * board DTS targets the N8 module (8 MB flash, no PSRAM): the flash needs no
 * override and psram0 is sized below. The profile needs the octal PSRAM
 * (esp32s3_devkitc_esp32s3_procpu.conf says why), so the N8 and N8R2 boards
 * do not run this image.
 *
 * The learner I/O sits on header J1 (pin numbers of the DevKitC-1 v1.1 user
 * guide), plus the on-board BOOT button:
 *
 *   DO0 to DO3   GPIO15, GPIO16, GPIO17, GPIO18   J1-8 to J1-11
 *                -> 330 ohm -> LED -> GND
 *   DI0 to DI3   GPIO5, GPIO6, GPIO7, GPIO8       J1-5 to J1-7, J1-12
 *                -> button -> GND, internal pull-up, active low
 *   DI4          GPIO0, the BOOT button: an extra input that needs no wiring,
 *                not one of the four (a strapping pin: never hold it
 *                pressed while the board resets)
 *   AI0          GPIO4, ADC1 channel 3            J1-4
 *                -> wiper of a 10 kohm potentiometer between 3V3 (J1-1) and
 *                GND (J1-22), read at 12 dB attenuation (about 0 V to 3.1 V)
 *
 * Pins left alone: the strapping pins GPIO3, 45 and 46; USB GPIO19/20; JTAG
 * GPIO39 to 42; UART0 GPIO43/44; GPIO33 to 37 (octal flash or PSRAM); the
 * SPI2 and SPI3 pins of the base DTS; GPIO38 (v1.1) and GPIO48 (v1.0), the
 * addressable RGB LED, which needs the LED-strip driver.
 *
 * The channels are listed in the I/O description of
 * firmware/app/boards/boards.json (esp32-s3-devkitc); the build fails when the
 * description and this file disagree, and so does the manifest validator.
 *
 * Console: the Zephyr console and shell use the native USB-Serial/JTAG
 * controller, the port marked "USB", the one used for flashing.
 *
 * Storage: the NVS records of the HAL take zplc_nvs_partition (below) and the
 * settings file system takes storage_partition of the base DTS (IO-008).
 */

/*
 * IO-008: the NVS records of the HAL (program, RETAIN, settings keys) get their
 * own 192 KB partition in the upper 4 MB of the 8 MB flash, which the 4 MB
 * partition table of the base DTS leaves free; the settings file system
 * (LittleFS, zplc_config.c) keeps storage_partition (0x3b0000, 192 KB).
 */
&flash0 {
    partitions {
        zplc_nvs_partition: partition@400000 {
            label = "zplc-nvs";
            reg = <0x400000 DT_SIZE_K(192)>;
        };
    };
};

/* ESP32-S3R8 class module: 8 MB octal PSRAM, needed for CONFIG_ESP_SPIRAM */
&psram0 {
    size = <DT_SIZE_M(8)>;
};

/ {
    chosen {
        zephyr,console = &usb_serial;
        zephyr,shell-uart = &usb_serial;
    };

    leds {
        compatible = "gpio-leds";

        led0: led_0 {
            gpios = <&gpio0 15 GPIO_ACTIVE_HIGH>;
            label = "ZPLC Output 0 (GPIO15, J1-8)";
        };

        led1: led_1 {
            gpios = <&gpio0 16 GPIO_ACTIVE_HIGH>;
            label = "ZPLC Output 1 (GPIO16, J1-9)";
        };

        led2: led_2 {
            gpios = <&gpio0 17 GPIO_ACTIVE_HIGH>;
            label = "ZPLC Output 2 (GPIO17, J1-10)";
        };

        led3: led_3 {
            gpios = <&gpio0 18 GPIO_ACTIVE_HIGH>;
            label = "ZPLC Output 3 (GPIO18, J1-11)";
        };
    };

    zplc_inputs {
        compatible = "gpio-keys";

        input0: input_0 {
            gpios = <&gpio0 5 (GPIO_PULL_UP | GPIO_ACTIVE_LOW)>;
            label = "ZPLC Input 0 (GPIO5, J1-5)";
            zephyr,code = <0>;
        };

        input1: input_1 {
            gpios = <&gpio0 6 (GPIO_PULL_UP | GPIO_ACTIVE_LOW)>;
            label = "ZPLC Input 1 (GPIO6, J1-6)";
            zephyr,code = <1>;
        };

        input2: input_2 {
            gpios = <&gpio0 7 (GPIO_PULL_UP | GPIO_ACTIVE_LOW)>;
            label = "ZPLC Input 2 (GPIO7, J1-7)";
            zephyr,code = <2>;
        };

        input3: input_3 {
            gpios = <&gpio0 8 (GPIO_PULL_UP | GPIO_ACTIVE_LOW)>;
            label = "ZPLC Input 3 (GPIO8, J1-12)";
            zephyr,code = <3>;
        };

        /* The same pin as button0 of the base DTS, named here so that this file binds every channel */
        input4: input_4 {
            gpios = <&gpio0 0 (GPIO_PULL_UP | GPIO_ACTIVE_LOW)>;
            label = "ZPLC Input 4 (GPIO0, BOOT button)";
            zephyr,code = <4>;
        };
    };

    aliases {
        led0 = &led0;
        led1 = &led1;
        led2 = &led2;
        led3 = &led3;
        /* sw0 of the base DTS is the BOOT button; here it is DI0 on GPIO5 */
        sw0 = &input0;
        sw1 = &input1;
        sw2 = &input2;
        sw3 = &input3;
        sw4 = &input4;
    };
};

&usb_serial {
    status = "okay";
};

/* ADC1 serves the analog input AI0 (GPIO4, channel 3) */
&adc0 {
    status = "okay";
};
```

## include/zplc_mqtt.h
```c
bool zplc_mqtt_is_connected(void);
```
